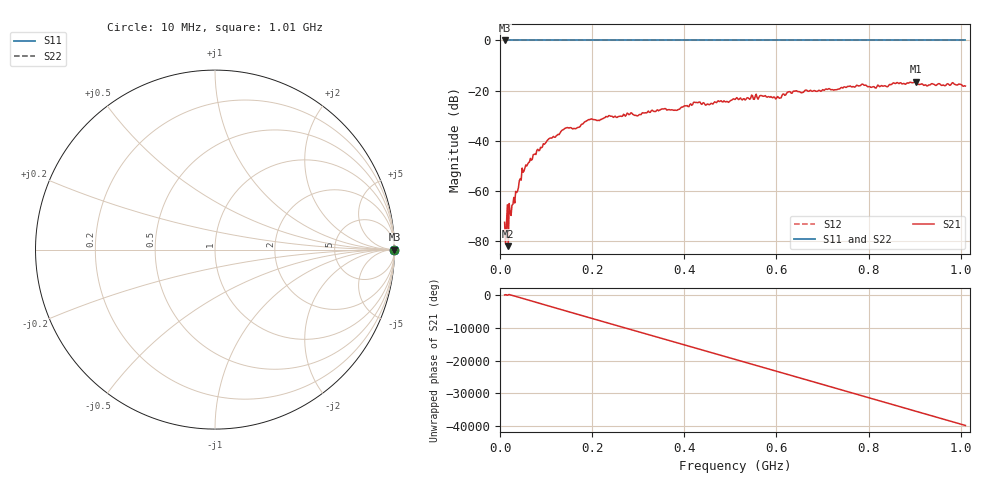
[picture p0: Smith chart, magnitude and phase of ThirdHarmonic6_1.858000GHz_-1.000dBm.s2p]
! 8/16/2025 10:28:31 PM
! C:\ANRITSUVNA\TEMP\TEMP.S2P
! CHANNEL.1
! TR.MEASUREMENT
! RAW.DATA
! RF.CORRECTION.OFF
! AVERAGING.OFF
! IF.BANDWIDTH: 5KHZ
! SWEEPTYPE:  FREQ.SWEEP(Linear)
! Reference Plane Port Info
! PORT:  PORT1  PORT2
! DISTANCE:  0  m  0  m
! TIME:  0  s  0  s
! PHASE.OFFSET:  0  deg.  0  deg.
! LOSS:  0  dB  0  dB
! REF.LOSS:  0  dB  0  dB
! REF.FREQ:  0  Hz  0  Hz
! Power Info
! POWER:  -20  dBm  -20  dBm
! EFF.POWER:  -20  dBm  -20  dBm
! SOURCE.ATTEN:  0  dB  0  dB
! TEST.ATTEN:  0  dB  0  dB
# GHZ S RI R 50.0
! FREQ.GHZ  S11RE  S11IM  S21RE  S21IM  S12RE  S12IM  S22RE  S22IM
!; PortSelection: Port_12
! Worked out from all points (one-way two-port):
!   501 points, 10 MHz to 1.01 GHz, reference 50 ohm
!   highest |S21| = -16.41 dB at 902 MHz (marker M1); lowest = -82.1 dB at 18 MHz (marker M2)
!   lowest |S11| = 0.0 dB at 10 MHz (marker M3)
!   |S11| at or under -10 dB: nowhere
!   |S22| runs from 0.0 to 0.0 dB; largest |S21 - S12| = 1.1
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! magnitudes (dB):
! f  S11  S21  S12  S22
! 10 MHz  0.0  -72.6  0.0  0.0
! 12 MHz  0.0  -81.1  0.0  0.0
! 14 MHz  0.0  -73.4  0.0  0.0
! 18 MHz  0.0  -82.1  0.0  0.0
! 22 MHz  0.0  -68.7  0.0  0.0
! 24 MHz  0.0  -69.8  0.0  0.0
! 52 MHz  0.0  -52.1  0.0  0.0
! 76 MHz  0.0  -45.3  0.0  0.0
! 106 MHz  0.0  -39.2  0.0  0.0
! 138 MHz  0.0  -35.5  0.0  0.0
! 178 MHz  0.0  -33.4  0.0  0.0
! 196 MHz  0.0  -31.5  0.0  0.0
! 344 MHz  0.0  -28.1  0.0  0.0
! 382 MHz  0.0  -27.9  0.0  0.0
! 424 MHz  0.0  -24.8  0.0  0.0
! 510 MHz  0.0  -23.5  0.0  0.0
! 602 MHz  0.0  -22.4  0.0  0.0
! 626 MHz  0.0  -20.5  0.0  0.0
! 678 MHz  0.0  -20.3  0.0  0.0
! 844 MHz  0.0  -17.8  0.0  0.0
! 902 MHz  0.0  -16.4  0.0  0.0
! 1.01 GHz  0.0  -18.2  0.0  0.0
